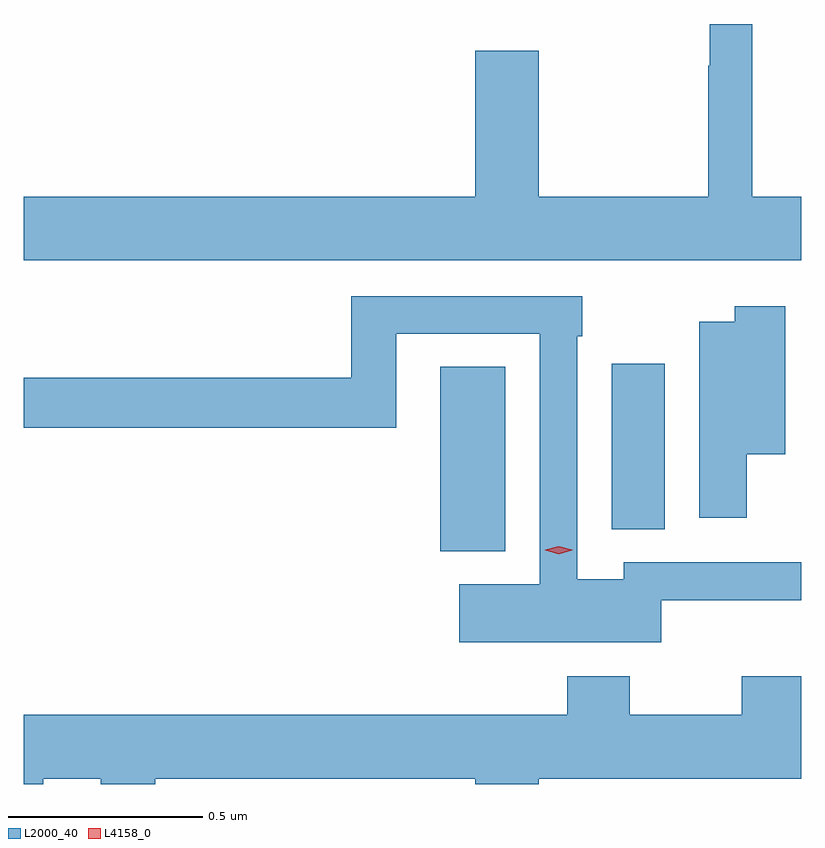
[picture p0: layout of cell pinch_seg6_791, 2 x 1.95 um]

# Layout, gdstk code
import gdstk
lib = gdstk.Library(unit=1e-6, precision=1e-09)
def R(c, l, rs):  # rectangles x0, y0, x1, y1
    for r in rs: c.add(gdstk.rectangle(r[:2], r[2:], *l))
def P(c, l, *ps):  # polygons
    for p in ps: c.add(gdstk.Polygon(p, *l))
L2000_40 = (2000, 40)
L4158_0 = (4158, 0)

pinch_seg6_791 = lib.new_cell('pinch_seg6_791')
R(pinch_seg6_791, L2000_40, [(260.822,990.545,260.989,991.019), (261.263,990.601,261.4,991.027)])
P(pinch_seg6_791, L2000_40, [(261.751,991.456),(261.625,991.456),(261.625,991.9),(261.515,991.9),(261.515,991.793),(261.511,991.793),(261.511,991.456),(261.076,991.456),(261.076,991.831),(260.912,991.831),(260.912,991.456),(259.751,991.456),(259.751,991.292),(261.751,991.292)],
  [(261.39,990.419),(261.751,990.419),(261.751,990.516),(261.294,990.516),(261.294,990.472),(261.174,990.472),(261.174,991.097),(261.187,991.097),(261.187,991.2),(260.593,991.2),(260.593,990.991),(259.751,990.991),(259.751,990.862),(260.709,990.862),(260.709,991.104),(261.078,991.104),(261.078,990.46),(260.871,990.46),(260.871,990.311),(261.39,990.311)],
  [(261.61,990.794),(261.709,990.794),(261.709,991.174),(261.58,991.174),(261.58,991.135),(261.488,991.135),(261.488,990.63),(261.61,990.63)],
  [(259.801,989.96),(259.949,989.96),(259.949,989.946),(260.089,989.946),(260.089,989.96),(260.912,989.96),(260.912,989.946),(261.076,989.946),(261.076,989.96),(261.751,989.96),(261.751,990.223),(261.598,990.223),(261.598,990.124),(261.309,990.124),(261.309,990.223),(261.149,990.223),(261.149,990.124),(259.751,990.124),(259.751,989.946),(259.801,989.946)])
P(pinch_seg6_791, L4158_0, [(261.127,990.537),(261.092,990.547),(261.092,990.547),(261.092,990.548),(261.127,990.557),(261.162,990.548),(261.162,990.547),(261.162,990.547)])

lib.write_gds('pinch_seg6_791.gds')
